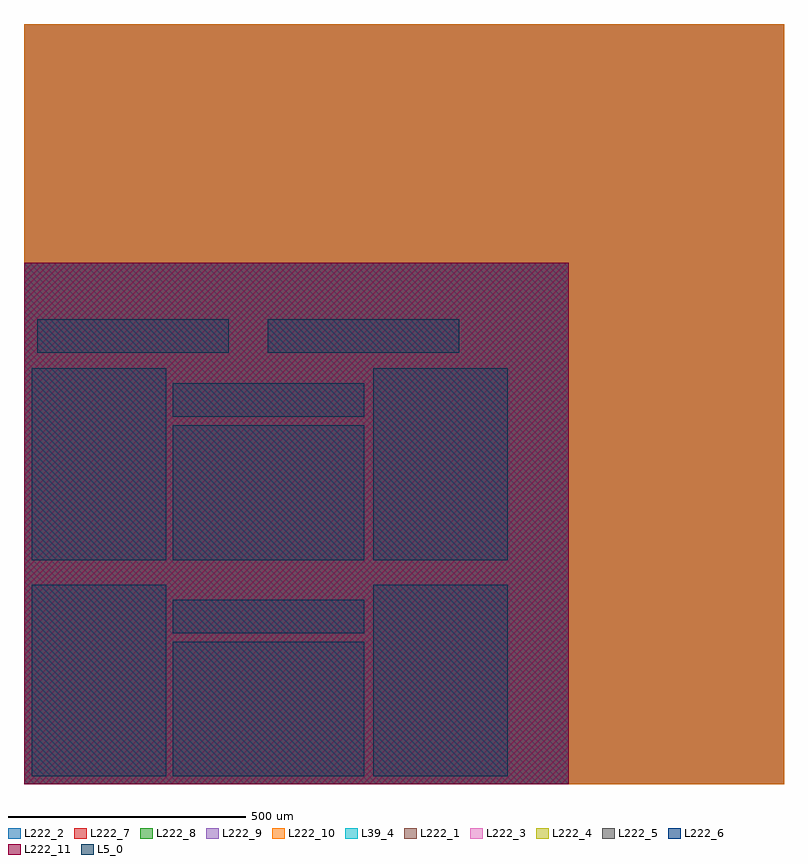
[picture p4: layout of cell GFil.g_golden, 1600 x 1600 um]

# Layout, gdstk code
import gdstk
lib = gdstk.Library(unit=1e-6, precision=1e-09)
def R(c, l, rs):  # rectangles x0, y0, x1, y1
    for r in rs: c.add(gdstk.rectangle(r[:2], r[2:], *l))
def A(c, l, x, y, w, h, nx, ny, dx, dy):  # array of equal rectangles
    R(c, l, [(x+i*dx, y+j*dy, x+i*dx+w, y+j*dy+h) for i in range(nx) for j in range(ny)])
L5_0 = (5, 0)
L39_4 = (39, 4)
L222_1 = (222, 1)
L222_2 = (222, 2)
L222_3 = (222, 3)
L222_4 = (222, 4)
L222_5 = (222, 5)
L222_6 = (222, 6)
L222_7 = (222, 7)
L222_8 = (222, 8)
L222_9 = (222, 9)
L222_10 = (222, 10)
L222_11 = (222, 11)

gfil_g_golden = lib.new_cell('GFil.g_golden')
A(gfil_g_golden, L5_0, 16.21, 16.21, 35, 50, 8, 8, 35.5, 50.5)
A(gfil_g_golden, L5_0, 735.11, 16.21, 35, 50, 8, 8, 35.5, 50.5)
A(gfil_g_golden, L5_0, 312.79, 16.24, 50, 35, 8, 8, 50.5, 35.5)
A(gfil_g_golden, L5_0, 312.79, 317.83, 50, 35, 8, 2, 50.5, 35.5)
A(gfil_g_golden, L5_0, 16.21, 471.52, 35, 50, 8, 8, 35.5, 50.5)
A(gfil_g_golden, L5_0, 735.11, 471.52, 35, 50, 8, 8, 35.5, 50.5)
A(gfil_g_golden, L5_0, 312.79, 471.55, 50, 35, 8, 8, 50.5, 35.5)
A(gfil_g_golden, L5_0, 312.79, 773.14, 50, 35, 8, 2, 50.5, 35.5)
A(gfil_g_golden, L5_0, 27.41, 908.21, 50, 35, 8, 2, 50.5, 35.5)
A(gfil_g_golden, L5_0, 513.21, 908.21, 50, 35, 8, 2, 50.5, 35.5)
R(gfil_g_golden, L39_4, [(0,0,1146.62,1097.81)])
R(gfil_g_golden, L222_1, [(0,0,1146.62,1097.81)])
A(gfil_g_golden, L222_2, 0, 0, 800, 800, 3, 3, 400, 400)
R(gfil_g_golden, L222_3, [(0,0,1146.62,1097.81)])
R(gfil_g_golden, L222_4, [(0,0,1146.62,1097.81)])
R(gfil_g_golden, L222_5, [(0,0,1146.62,1097.81)])
R(gfil_g_golden, L222_6, [(0,0,1146.62,1097.81)])
A(gfil_g_golden, L222_7, 0, 0, 800, 800, 3, 3, 400, 400)
A(gfil_g_golden, L222_8, 0, 0, 800, 800, 3, 3, 400, 400)
A(gfil_g_golden, L222_9, 0, 0, 800, 800, 3, 3, 400, 400)
A(gfil_g_golden, L222_10, 0, 0, 800, 800, 3, 3, 400, 400)
R(gfil_g_golden, L222_11, [(0,0,1146.62,1097.81)])

lib.write_gds('GFil.g_golden.gds')
